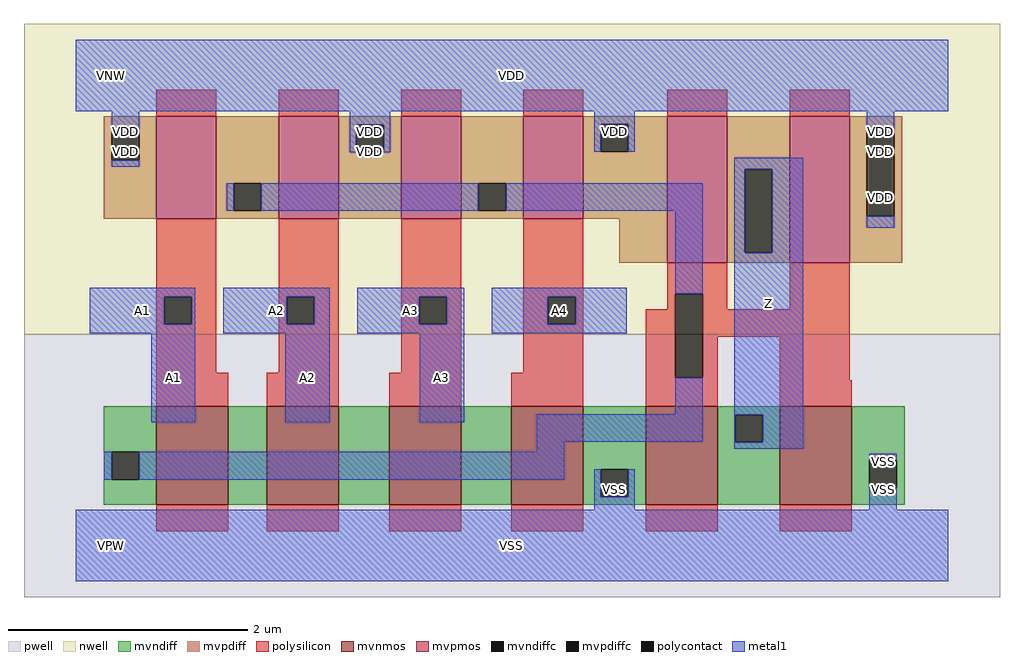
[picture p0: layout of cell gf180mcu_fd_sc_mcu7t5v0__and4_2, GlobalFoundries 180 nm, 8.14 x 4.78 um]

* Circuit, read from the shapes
.subckt gf180mcu_fd_sc_mcu7t5v0__and4_2 A1 A2 A3 A4 Z VDD VNW VPW VSS
XM1 n1 A1 n2 VPW nfet_06v0 w=0.82u l=0.6u
XM2 n3 A2 n1 VPW nfet_06v0 w=0.82u l=0.6u
XM3 n4 A3 n3 VPW nfet_06v0 w=0.82u l=0.6u
XM4 VSS A4 n4 VPW nfet_06v0 w=0.82u l=0.6u
XM5 Z n2 VSS VPW nfet_06v0 w=0.82u l=0.6u m=2
XM6 n2 A1 VDD VNW pfet_06v0 w=0.855u l=0.5u
XM7 VDD A2 n2 VNW pfet_06v0 w=0.855u l=0.5u
XM8 n2 A3 VDD VNW pfet_06v0 w=0.855u l=0.5u
XM9 VDD A4 n2 VNW pfet_06v0 w=0.855u l=0.5u
XM10 Z n2 VDD VNW pfet_06v0 w=1.22u l=0.5u m=2
.ends

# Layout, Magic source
magic
tech gf180mcuD
magscale 1 10
<< nwell >>
rect -86 352 1542 870
<< pwell >>
rect -86 -86 1542 352
<< mvnmos >>
rect 135 68 255 232
rect 319 68 439 232
rect 523 68 643 232
rect 727 68 847 232
rect 951 68 1071 232
rect 1175 68 1295 232
<< mvpmos >>
rect 135 545 235 716
rect 339 545 439 716
rect 543 545 643 716
rect 747 545 847 716
rect 987 472 1087 716
rect 1191 472 1291 716
<< mvndiff >>
rect 47 156 135 232
rect 47 110 60 156
rect 106 110 135 156
rect 47 68 135 110
rect 255 68 319 232
rect 439 68 523 232
rect 643 68 727 232
rect 847 127 951 232
rect 847 81 876 127
rect 922 81 951 127
rect 847 68 951 81
rect 1071 218 1175 232
rect 1071 172 1100 218
rect 1146 172 1175 218
rect 1071 68 1175 172
rect 1295 142 1383 232
rect 1295 96 1324 142
rect 1370 96 1383 142
rect 1295 68 1383 96
<< mvpdiff >>
rect 47 689 135 716
rect 47 643 60 689
rect 106 643 135 689
rect 47 545 135 643
rect 235 604 339 716
rect 235 558 264 604
rect 310 558 339 604
rect 235 545 339 558
rect 439 702 543 716
rect 439 656 468 702
rect 514 656 543 702
rect 439 545 543 656
rect 643 604 747 716
rect 643 558 672 604
rect 718 558 747 604
rect 643 545 747 558
rect 847 703 987 716
rect 847 657 876 703
rect 922 657 987 703
rect 847 545 987 657
rect 907 472 987 545
rect 1087 628 1191 716
rect 1087 488 1116 628
rect 1162 488 1191 628
rect 1087 472 1191 488
rect 1291 689 1379 716
rect 1291 549 1320 689
rect 1366 549 1379 689
rect 1291 472 1379 549
<< mvndiffc >>
rect 60 110 106 156
rect 876 81 922 127
rect 1100 172 1146 218
rect 1324 96 1370 142
<< mvpdiffc >>
rect 60 643 106 689
rect 264 558 310 604
rect 468 656 514 702
rect 672 558 718 604
rect 876 657 922 703
rect 1116 488 1162 628
rect 1320 549 1366 689
<< polysilicon >>
rect 135 716 235 760
rect 339 716 439 760
rect 543 716 643 760
rect 747 716 847 760
rect 987 716 1087 760
rect 1191 716 1291 760
rect 135 415 235 545
rect 135 369 148 415
rect 194 369 235 415
rect 135 288 235 369
rect 339 415 439 545
rect 339 369 352 415
rect 398 369 439 415
rect 339 288 439 369
rect 543 415 643 545
rect 543 369 573 415
rect 619 369 643 415
rect 543 288 643 369
rect 747 415 847 545
rect 747 369 788 415
rect 834 369 847 415
rect 987 420 1087 472
rect 987 394 1000 420
rect 747 288 847 369
rect 135 232 255 288
rect 319 232 439 288
rect 523 232 643 288
rect 727 232 847 288
rect 951 280 1000 394
rect 1046 394 1087 420
rect 1191 394 1291 472
rect 1046 348 1291 394
rect 1046 280 1071 348
rect 951 232 1071 280
rect 1175 276 1291 348
rect 1175 232 1295 276
rect 135 24 255 68
rect 319 24 439 68
rect 523 24 643 68
rect 727 24 847 68
rect 951 24 1071 68
rect 1175 24 1295 68
<< polycontact >>
rect 148 369 194 415
rect 352 369 398 415
rect 573 369 619 415
rect 788 369 834 415
rect 1000 280 1046 420
<< metal1 >>
rect 0 724 1456 844
rect 60 689 106 724
rect 457 702 525 724
rect 457 656 468 702
rect 514 656 525 702
rect 865 703 933 724
rect 865 657 876 703
rect 922 657 933 703
rect 1320 689 1366 724
rect 60 632 106 643
rect 1099 628 1214 647
rect 252 558 264 604
rect 310 558 672 604
rect 718 558 1046 604
rect 24 415 200 430
rect 24 369 148 415
rect 194 369 200 415
rect 24 354 200 369
rect 246 415 424 430
rect 246 369 352 415
rect 398 369 424 415
rect 246 354 424 369
rect 470 415 648 430
rect 470 369 573 415
rect 619 369 648 415
rect 470 354 648 369
rect 694 415 919 430
rect 694 369 788 415
rect 834 369 919 415
rect 694 354 919 369
rect 1000 420 1046 558
rect 126 206 200 354
rect 350 206 424 354
rect 574 206 648 354
rect 1000 219 1046 280
rect 769 173 1046 219
rect 1099 488 1116 628
rect 1162 488 1214 628
rect 1320 530 1366 549
rect 1099 218 1214 488
rect 769 156 815 173
rect 1099 172 1100 218
rect 1146 172 1214 218
rect 1099 161 1214 172
rect 47 110 60 156
rect 106 110 815 156
rect 1324 142 1370 153
rect 865 81 876 127
rect 922 81 933 127
rect 865 60 933 81
rect 1324 60 1370 96
rect 0 -60 1456 60
<< labels >>
flabel metal1 s 470 354 648 430 0 FreeSans 400 0 0 0 A3
port 3 nsew default input
flabel metal1 s 694 354 919 430 0 FreeSans 400 0 0 0 A4
port 4 nsew default input
flabel metal1 s 0 724 1456 844 0 FreeSans 400 0 0 0 VDD
port 6 nsew power bidirectional abutment
flabel metal1 s 1324 127 1370 153 0 FreeSans 400 0 0 0 VSS
port 9 nsew ground bidirectional abutment
flabel metal1 s 1099 161 1214 647 0 FreeSans 400 0 0 0 Z
port 5 nsew default output
flabel metal1 s 24 354 200 430 0 FreeSans 400 0 0 0 A1
port 1 nsew default input
flabel metal1 s 246 354 424 430 0 FreeSans 400 0 0 0 A2
port 2 nsew default input
flabel nwell s 10 734 110 834 0 FreeSans 400 0 0 0 VNW
port 7 nsew power bidirectional
flabel pwell s 10 -50 110 50 0 FreeSans 400 0 0 0 VPW
port 8 nsew ground bidirectional
rlabel metal1 s 126 206 200 354 1 A1
port 1 nsew default input
rlabel metal1 s 350 206 424 354 1 A2
port 2 nsew default input
rlabel metal1 s 574 206 648 354 1 A3
port 3 nsew default input
rlabel metal1 s 1320 657 1366 724 1 VDD
port 6 nsew power bidirectional abutment
rlabel metal1 s 865 657 933 724 1 VDD
port 6 nsew power bidirectional abutment
rlabel metal1 s 457 657 525 724 1 VDD
port 6 nsew power bidirectional abutment
rlabel metal1 s 60 657 106 724 1 VDD
port 6 nsew power bidirectional abutment
rlabel metal1 s 1320 656 1366 657 1 VDD
port 6 nsew power bidirectional abutment
rlabel metal1 s 457 656 525 657 1 VDD
port 6 nsew power bidirectional abutment
rlabel metal1 s 60 656 106 657 1 VDD
port 6 nsew power bidirectional abutment
rlabel metal1 s 1320 632 1366 656 1 VDD
port 6 nsew power bidirectional abutment
rlabel metal1 s 60 632 106 656 1 VDD
port 6 nsew power bidirectional abutment
rlabel metal1 s 1320 530 1366 632 1 VDD
port 6 nsew power bidirectional abutment
rlabel metal1 s 1324 60 1370 127 1 VSS
port 9 nsew ground bidirectional abutment
rlabel metal1 s 865 60 933 127 1 VSS
port 9 nsew ground bidirectional abutment
rlabel metal1 s 0 -60 1456 60 1 VSS
port 9 nsew ground bidirectional abutment
<< properties >>
string FIXED_BBOX 0 0 1456 784
string GDS_END 1240654
string GDS_FILE $PDKPATH/libs.ref/gf180mcu_fd_sc_mcu7t5v0/gds/gf180mcu_fd_sc_mcu7t5v0.gds
string GDS_START 1236656
string LEFclass core
string LEFsite GF018hv5v_mcu_sc7
string LEFsymmetry X Y
<< end >>
